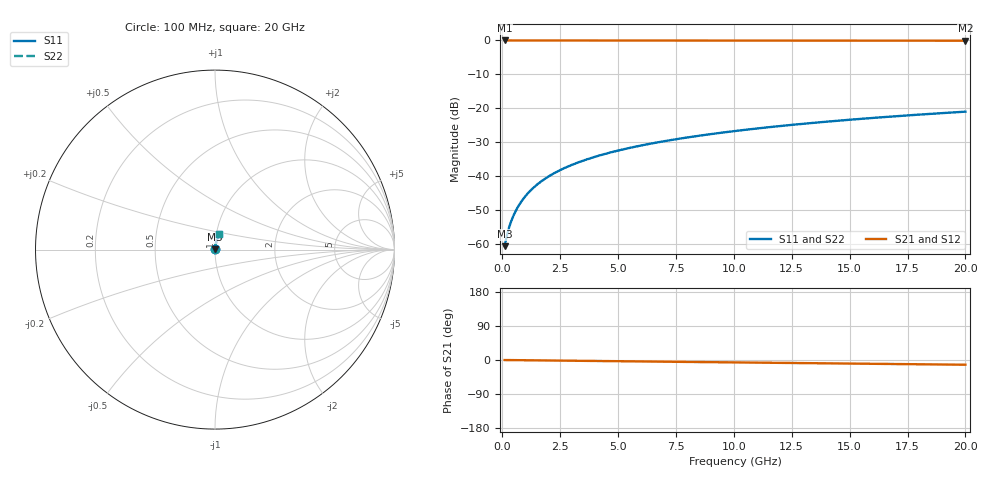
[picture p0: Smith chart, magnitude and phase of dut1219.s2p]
! Touchstone file exported from HFSS 2026.1.0
!  File:  C:/ffzhzh/LocalFiles/Ansys_Project_Files/temp_train_TMRDL_1219_1783163283_18472.aedt
!  Generated:  07:09:14 PM Jul  4, 2026
!  Design:  TMRDL
!  Project:  temp_train_TMRDL_1219_1783163283_18472
! Variables:
!  h_bsmrdl = 2um
!  h_ox = 20um
!  h_rdl = 5um
!  h_sub = 80um
!  h_tmrdl = 5.78um
!  h_tsv = 80um
!  h_via = 3um
!  l_bsmrdl = 300um
!  l_sub = 585.42um
!  l_tmrdl = 185.42um
!  m_sub = 200um
!  pitch = 33.36um
!  r_tsv = 6um
!  s_tmrdl = 10um
!  w_bsmrdl = 18um
!  w_sub = 500um
!  w_tmrdl = 18.68um
!  x_tsv_center1 = 194.76um
!  x_tsv_center2 = 512.76um
!  x_tsv_center3 = 716.86um
!  x_tsv_center4 = 1034.86um
!  x_tsv_center5 = 1238.96um
!  x_tsv_center6 = 1556.96um
# GHz S MA R 50.000000
! Terminal data exported
! Port[1] = TM_RDL1_1_T1
! Port[2] = TM_RDL1_1_T2
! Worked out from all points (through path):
!   200 points, 100 MHz to 20 GHz, reference 50 ohm
!   highest |S21| = -0.01 dB at 100 MHz (marker M1); lowest = -0.1 dB at 20 GHz (marker M2)
!   group delay of S21, straight-line fit = 1.73 ps
!   lowest |S11| = -60.6 dB at 100 MHz (marker M3), VSWR 1.00, Z = 50.1 + j0.057 ohm
!   |S11| at or under -10 dB: start of sweep to end of sweep
!   |S22| runs from -60.6 to -21.0 dB; largest |S21 - S12| = 4.3e-15
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0.1  0.000936 37.5  0.9993 -0.1  0.9993 -0.1  0.000936 37.5
! Gamma 0 0 0 0
! Port Impedance 50 0 50 0
0.2  0.001353 53.7  0.9992 -0.1  0.9992 -0.1  0.001353 53.7
0.3  0.001797 61.9  0.9992 -0.2  0.9992 -0.2  0.001797 61.9
0.4  0.002251 67.0  0.9991 -0.3  0.9991 -0.3  0.002251 67.0
0.5  0.002715 70.5  0.9991 -0.3  0.9991 -0.3  0.002715 70.5
0.6  0.003186 73.0  0.9991 -0.4  0.9991 -0.4  0.003186 73.0
0.8  0.004143 76.3  0.999 -0.5  0.999 -0.5  0.004143 76.3
1.1  0.005596 79.0  0.999 -0.7  0.999 -0.7  0.005596 79.0
1.3  0.006567 80.0  0.9989 -0.8  0.9989 -0.8  0.006567 80.0
1.6  0.008023 81.0  0.9988 -1.0  0.9988 -1.0  0.008023 81.0
2.1  0.01043 81.8  0.9987 -1.4  0.9987 -1.4  0.01043 81.8
2.7  0.01329 82.1  0.9985 -1.8  0.9985 -1.8  0.01329 82.1
3.5  0.01704 82.1  0.9982 -2.3  0.9982 -2.3  0.01704 82.1
4.2  0.02027 82.0  0.9979 -2.7  0.9979 -2.7  0.02027 82.0
5  0.02391 81.7  0.9976 -3.2  0.9976 -3.2  0.02391 81.7
5.9  0.02797 81.4  0.9973 -3.8  0.9973 -3.8  0.02797 81.4
6.8  0.032 81.1  0.9969 -4.3  0.9969 -4.3  0.032 81.1
8.3  0.03867 80.5  0.9964 -5.3  0.9964 -5.3  0.03867 80.5
10.1  0.04662 79.7  0.9958 -6.4  0.9958 -6.4  0.04662 79.7
13.4  0.06106 78.1  0.9945 -8.4  0.9945 -8.4  0.06106 78.1
16.7  0.07533 76.4  0.9931 -10.5  0.9931 -10.5  0.07533 76.4
20  0.08941 74.6  0.9915 -12.5  0.9915 -12.5  0.08941 74.6
